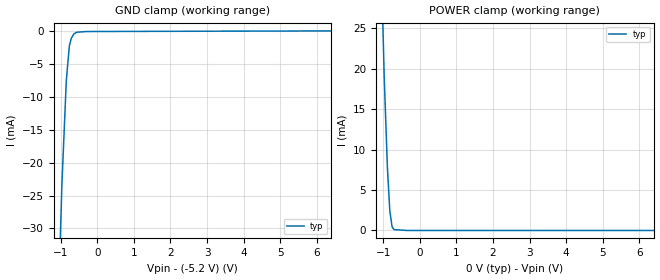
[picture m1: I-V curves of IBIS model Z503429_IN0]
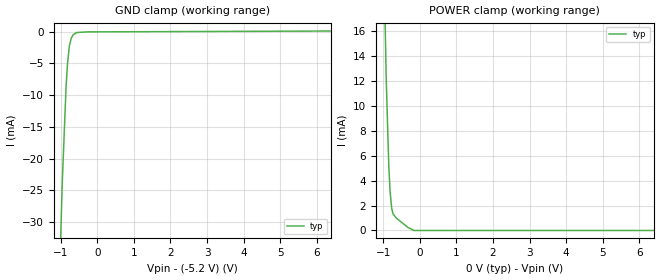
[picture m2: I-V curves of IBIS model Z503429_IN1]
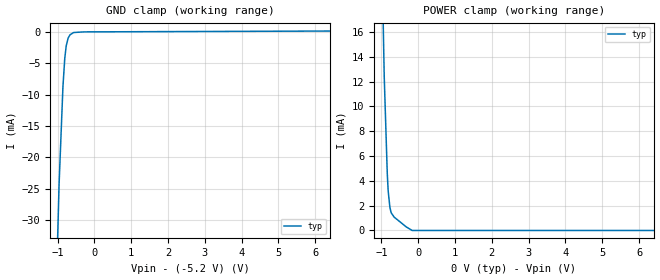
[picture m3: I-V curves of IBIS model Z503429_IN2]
| YOU ARE ONLY AUTHORIZED TO USE THIS SOFTWARE
| ACCORDING TO LICENSOR'S LICENSE RESTRICTIONS.
[IBIS Ver] 3.1
[File Name] mc10el51d.ibs
[File Rev] 2.0
[Source] Measured and created by ICX Technology
[Date] Friday 7/14/00 9:07:50 AM
[Copyright]
| (C) COPYRIGHT 1993-2000
| MENTOR GRAPHICS CORPORATION
| ICX STANDARD LIBRARY, ICX PROJECT MODELING,
| ICX CUSTOM MODELING, ICX VENDOR MODEL
| ALL RIGHTS RESERVED.
| THE FOLLOWING ARE TRADEMARKS OR SERVICE MARKS OF
| MENTOR GRAPHICS CORPORATION:ICX (R), ICX STANDARD
| LIBRARY(R), ICX PROJECT MODELING(R), ICX CUSTOM
| MODELING(R), qualityIBIS(TM), MODELVIEWER(TM),
| AND MODELEDITOR(TM)
| ALL COPIES OF SOFTWARE, INCLUDING BUT NOT LIMITED TO
| ANY MODIFICATIONS, ENHANCEMENTS OR DERIVATIVE WORKS,
| MUST CONTAIN ALL MENTOR GRAPHICS CORPORATION'S
| NOTICES AND LEGENDS, INCLUDING THOSE EMBEDDED IN
| SOFTWARE AND THOSE AFFIXED TO SOFTWARE MEDIUM
| AND CONTAINER, AS RECEIVED FROM MENTOR GRAPHICS
| CORPORATION.
|  ZAP Model Builder 2.7
[Component] MC10EL51D
[Manufacturer] OnSemiconductor
[Package]
| variable   typ   min   max
R_pkg  .152ohms NA NA
L_pkg  2.714nH NA NA
C_pkg  .364pF NA NA
[Pin] signal_name  model_name  R_pin  L_pin C_pin
1 R Z503429_IN0 .154 2.924n .374p
2 D Z503429_IN1 .15 2.504n .354p
3 CLK Z503429_IN2 .15 2.504n .354p
4 _CLK Z503429_IN2 .154 2.924n .374p
5 VEE POWER .154 2.924n .374p
6 _Q Z503429_OUT .15 2.504n .354p
7 Q Z503429_OUT .15 2.504n .354p
8 VCC POWER .154 2.924n .374p
| Models and submodels in the file (4): Z503429_IN0 (Input_ECL), Z503429_IN1 (Input_ECL), Z503429_IN2 (Input_ECL), Z503429_OUT (Output_ECL)
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| (C) COPYRIGHT 1993-2000
| MENTOR GRAPHICS CORPORATION
| ICX STANDARD LIBRARY, ICX PROJECT MODELING,
| ICX CUSTOM MODELING, ICX VENDOR MODEL
| ALL RIGHTS RESERVED.
| THE FOLLOWING ARE TRADEMARKS OR SERVICE MARKS OF
| MENTOR GRAPHICS CORPORATION:ICX (R), ICX STANDARD
| LIBRARY(R), ICX PROJECT MODELING(R), ICX CUSTOM
| MODELING(R), qualityIBIS(TM), MODELVIEWER(TM),
| AND MODELEDITOR(TM)
| ALL COPIES OF SOFTWARE, INCLUDING BUT NOT LIMITED TO
| ANY MODIFICATIONS, ENHANCEMENTS OR DERIVATIVE WORKS,
| MUST CONTAIN ALL MENTOR GRAPHICS CORPORATION'S
| NOTICES AND LEGENDS, INCLUDING THOSE EMBEDDED IN
| SOFTWARE AND THOSE AFFIXED TO SOFTWARE MEDIUM
| AND CONTAINER, AS RECEIVED FROM MENTOR GRAPHICS
| CORPORATION.
| Model Application Version 1.89 2/18/99.
[Model] Z503429_IN0
Model_type Input_ECL
Vinl = -1.480V
Vinh = -1.130V
C_comp 8.000pF NA NA
| variable typ   min   max
[Voltage Range] -5.200V NA NA
[GND Clamp Reference] -5.200V NA NA
[POWER Clamp Reference] 0.000V NA NA
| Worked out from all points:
|   GND clamp passes 1 mA (typ) near -0.71 V on its own axis
|   POWER clamp passes 1 mA (typ) near -0.78 V on its own axis
[GND Clamp]
-5.2V     -825.4mA   NA         NA
-971mV    -23.33mA   NA         NA
-850mV    -7.459mA   NA         NA
-767mV    -2.231mA   NA         NA
-714mV    -1.045mA   NA         NA
-644mV    -395.3uA   NA         NA
-567mV    -128.6uA   NA         NA
-283.5mV  -21.55uA   NA         NA
10.4V     125.7uA    NA         NA
[POWER Clamp]
-5.2V     1.715A     NA         NA
-1.132V   54.89mA    NA         NA
-1.055V   32.87mA    NA         NA
-976.5mV  19.02mA    NA         NA
-888.8mV  7.791mA    NA         NA
-823.2mV  2.441mA    NA         NA
-764.8mV  557.2uA    NA         NA
-747.1mV  337.5uA    NA         NA
-704.4mV  106.5uA    NA         NA
-352.2mV  0A         NA         NA
10.4V     0A         NA         NA
| (C) COPYRIGHT 1993-2000
| MENTOR GRAPHICS CORPORATION
| ICX STANDARD LIBRARY, ICX PROJECT MODELING,
| ICX CUSTOM MODELING, ICX VENDOR MODEL
| ALL RIGHTS RESERVED.
| THE FOLLOWING ARE TRADEMARKS OR SERVICE MARKS OF
| MENTOR GRAPHICS CORPORATION:ICX (R), ICX STANDARD
| LIBRARY(R), ICX PROJECT MODELING(R), ICX CUSTOM
| MODELING(R), qualityIBIS(TM), MODELVIEWER(TM),
| AND MODELEDITOR(TM)
| ALL COPIES OF SOFTWARE, INCLUDING BUT NOT LIMITED TO
| ANY MODIFICATIONS, ENHANCEMENTS OR DERIVATIVE WORKS,
| MUST CONTAIN ALL MENTOR GRAPHICS CORPORATION'S
| NOTICES AND LEGENDS, INCLUDING THOSE EMBEDDED IN
| SOFTWARE AND THOSE AFFIXED TO SOFTWARE MEDIUM
| AND CONTAINER, AS RECEIVED FROM MENTOR GRAPHICS
| CORPORATION.
| Model Application Version 1.89 2/18/99.
[Model] Z503429_IN1
Model_type Input_ECL
Vinl = -1.480V
Vinh = -1.130V
C_comp 8.000pF NA NA
| variable typ   min   max
[Voltage Range] -5.200V NA NA
[GND Clamp Reference] -5.200V NA NA
[POWER Clamp Reference] 0.000V NA NA
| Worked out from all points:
|   GND clamp passes 1 mA (typ) near -0.71 V on its own axis
[GND Clamp]
-5.2V     -899.2mA   NA         NA
-963mV    -24.1mA    NA         NA
-857mV    -8.687mA   NA         NA
-816mV    -4.983mA   NA         NA
-767mV    -2.238mA   NA         NA
-715mV    -1.012mA   NA         NA
-663mV    -474uA     NA         NA
-567mV    -123.7uA   NA         NA
-283.5mV  -20.08uA   NA         NA
10.4V     193.4uA    NA         NA
[POWER Clamp]
-5.2V     1.588A     NA         NA
-1.172V   64.88mA    NA         NA
-1.063V   34.06mA    NA         NA
-922.8mV  12.34mA    NA         NA
-852.1mV  5.305mA    NA         NA
-815.4mV  3.123mA    NA         NA
-770.7mV  1.781mA    NA         NA
-736.9mV  1.356mA    NA         NA
-656.7mV  1.027mA    NA         NA
-327.4mV  245uA      NA         NA
-163.7mV  0A         NA         NA
10.4V     0A         NA         NA
| (C) COPYRIGHT 1993-2000
| MENTOR GRAPHICS CORPORATION
| ICX STANDARD LIBRARY, ICX PROJECT MODELING,
| ICX CUSTOM MODELING, ICX VENDOR MODEL
| ALL RIGHTS RESERVED.
| THE FOLLOWING ARE TRADEMARKS OR SERVICE MARKS OF
| MENTOR GRAPHICS CORPORATION:ICX (R), ICX STANDARD
| LIBRARY(R), ICX PROJECT MODELING(R), ICX CUSTOM
| MODELING(R), qualityIBIS(TM), MODELVIEWER(TM),
| AND MODELEDITOR(TM)
| ALL COPIES OF SOFTWARE, INCLUDING BUT NOT LIMITED TO
| ANY MODIFICATIONS, ENHANCEMENTS OR DERIVATIVE WORKS,
| MUST CONTAIN ALL MENTOR GRAPHICS CORPORATION'S
| NOTICES AND LEGENDS, INCLUDING THOSE EMBEDDED IN
| SOFTWARE AND THOSE AFFIXED TO SOFTWARE MEDIUM
| AND CONTAINER, AS RECEIVED FROM MENTOR GRAPHICS
| CORPORATION.
| Model Application Version 1.89 2/18/99.
[Model] Z503429_IN2
Model_type Input_ECL
Vinl = -1.480V
Vinh = -1.130V
C_comp 8.000pF NA NA
| variable typ   min   max
[Voltage Range] -5.200V NA NA
[GND Clamp Reference] -5.200V NA NA
[POWER Clamp Reference] 0.000V NA NA
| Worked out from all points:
|   GND clamp passes 1 mA (typ) near -0.71 V on its own axis
[GND Clamp]
-5.2V     -946.5mA   NA         NA
-961mV    -24.35mA   NA         NA
-856mV    -8.752mA   NA         NA
-806mV    -4.211mA   NA         NA
-767mV    -2.239mA   NA         NA
-715mV    -1.01mA    NA         NA
-662mV    -471.6uA   NA         NA
-567mV    -123.3uA   NA         NA
-283.5mV  -20.14uA   NA         NA
10.4V     194.8uA    NA         NA
[POWER Clamp]
-5.2V     1.496A     NA         NA
-1.131V   51mA       NA         NA
-1.063V   34.03mA    NA         NA
-922.7mV  12.4mA     NA         NA
-839.8mV  4.568mA    NA         NA
-815.4mV  3.189mA    NA         NA
-768.6mV  1.859mA    NA         NA
-735.4mV  1.435mA    NA         NA
-654.6mV  1.082mA    NA         NA
-327.1mV  292.3uA    NA         NA
-163.6mV  0A         NA         NA
10.4V     0A         NA         NA
